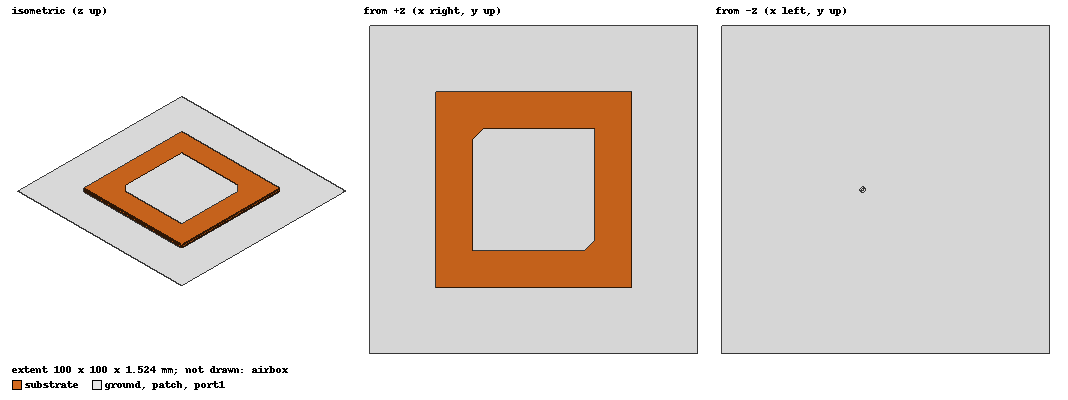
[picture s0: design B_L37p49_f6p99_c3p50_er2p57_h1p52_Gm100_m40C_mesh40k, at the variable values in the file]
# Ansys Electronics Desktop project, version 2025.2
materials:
  vacuum: permittivity=1
  substrate_design: permittivity=2.5676 permeability=1 dielectric_loss_tangent=0.0018
  copper: permeability=0.999991 conductivity=58000000
  pec: conductivity=1e+30

design B_L37p49_f6p99_c3p50_er2p57_h1p52_Gm100_m40C_mesh40k (HFSS, HFSS Modal Network, model units mm)
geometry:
  substrate [substrate_design] = box(corner=(-30mm, -30mm, 0mm), size=(60mm, 60mm, 1.524mm))
  ground = rectangle(corner=(-50mm, -50mm, 0mm), x_size=100mm, y_size=100mm)
  hole1 = circle(normal=Z, centre=(6.9935mm, 0mm, 0mm), radius=0.8mm)
  ground.subtract(hole1)
  patch = polyline(z=1.524mm, xy in mm: (-15.24585, 18.74255) (18.74255, 18.74255) (18.74255, -15.24585) (15.24585, -18.74255) (-18.74255, -18.74255) (-18.74255, 15.24585) (-15.24585, 18.74255), closed, covered)
  pin1 [pec] = cylinder(axis=Z, base_centre=(6.9935mm, 0mm, 0mm), radius=0.25mm, height=1.524mm)
  pin1_1 = pin1.copy()
  substrate.subtract(pin1_1)
  port1 = circle(normal=Z, centre=(6.9935mm, 0mm, 0mm), radius=0.8mm)
  inner1 = circle(normal=Z, centre=(6.9935mm, 0mm, 0mm), radius=0.25mm)
  port1.subtract(inner1)
  airbox [vacuum] = box(corner=(-80.906439mm, -80.906439mm, -30.906439mm), size=(161.81288mm, 161.81288mm, 63.336878mm))
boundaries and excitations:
  Cu_sheets: Finite Conductivity Objects=[patch, ground] UseMaterial Material=copper Roughness=0mm IsInternal
  Rad__F754J3: Radiation Objects=airbox
  P1: Lumped Port Objects=port1 LumpedPortType=Modal Modes{Mode1{IntLine{(7.2435, 0, 0) -> (7.7935, 0, 0)} CharImp=Zpi RenormImp=50ohm}} Impedance=50ohm
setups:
  Setup1: HfssDriven Frequency=2.425GHz MaxDeltaS=1e-05 MaximumPasses=21 MinimumPasses=1 MinimumConvergedPasses=2 PercentRefinement=30 BasisOrder=1 PortAccuracy=2 DrivenSolverType="Direct Solver"
    sweep S: 2.2GHz to 2.65GHz, 901 points; Type=Interpolating InterpTolerance=0.5 InterpMaxSolns=250 InterpUsePortImped=false PassivityErrorTolerance=0.0001
    sweep FF: 2.395GHz to 2.455GHz step 0.0025GHz; Type=Discrete SaveFields
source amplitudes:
  P1:1: 1W 0deg
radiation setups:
  ff: Infinite Sphere Theta=-180deg..180deg step 2deg Phi=0deg..90deg step 90deg
